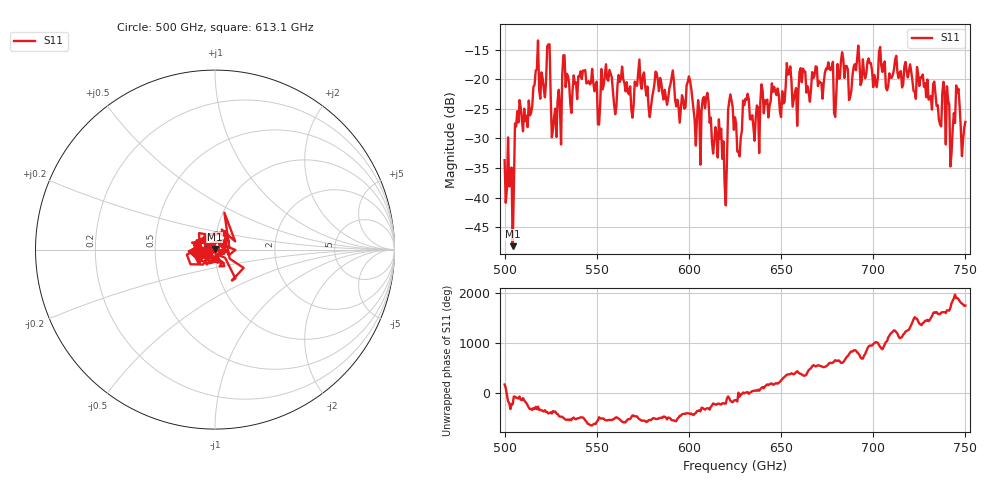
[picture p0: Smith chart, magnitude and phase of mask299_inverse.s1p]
!Created with skrf (http://scikit-rf.org).
# GHz S MA R 50.0
!freq magS11 angS11
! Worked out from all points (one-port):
!   401 points, 500 GHz to 750 GHz, reference 50 ohm
!   lowest |S11| = -48.2 dB at 504.4 GHz (marker M1), VSWR 1.01, Z = 49.8 + j0.325 ohm
!   |S11| at or under -10 dB: start of sweep to end of sweep
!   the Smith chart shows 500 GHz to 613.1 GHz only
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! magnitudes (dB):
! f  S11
! 500 GHz  -33.7
! 504.4 GHz  -48.2
! 506.9 GHz  -25.4
! 513.8 GHz  -26.1
! 516.9 GHz  -18.6
! 523.8 GHz  -14.1
! 526.9 GHz  -26.3
! 531.2 GHz  -19.4
! 562.5 GHz  -20.5
! 579.4 GHz  -24.8
! 590.6 GHz  -19.7
! 593.8 GHz  -23.5
! 600 GHz  -19.5
! 605 GHz  -23.5
! 609.4 GHz  -23.1
! 619.4 GHz  -37.8
! 622.5 GHz  -22.6
! 625 GHz  -26.4
! 656.2 GHz  -24.6
! 676.9 GHz  -18.5
! 680 GHz  -22.2
! 683.8 GHz  -16.6
! 687.5 GHz  -23.0
! 691.2 GHz  -16.6
! 718.8 GHz  -19.7
! 743.1 GHz  -28.3
! 745.6 GHz  -22.3
! 750 GHz  -27.2
